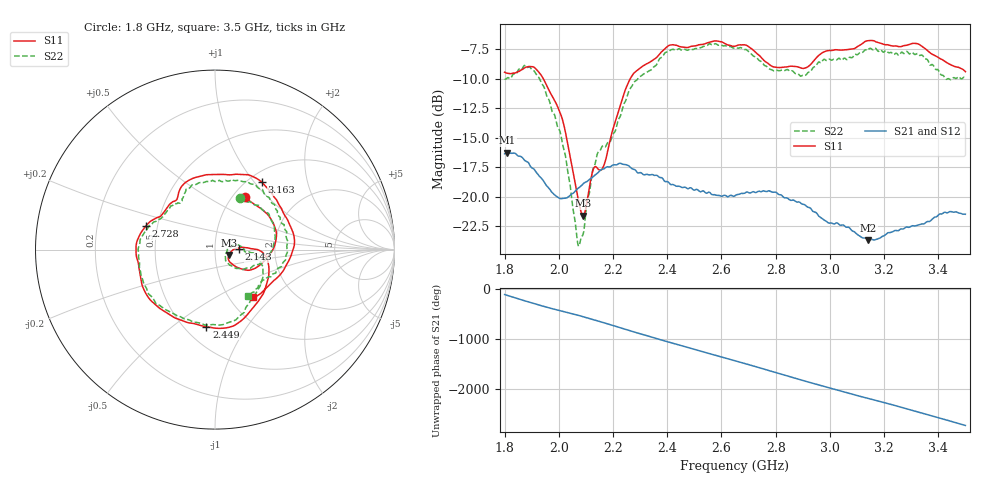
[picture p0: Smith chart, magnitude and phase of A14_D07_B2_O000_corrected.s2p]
! Created with skrf 1.9.0 (http://scikit-rf.org).
# Hz S RI R 50.0
!freq ReS11 ImS11 ReS21 ImS21 ReS12 ImS12 ReS22 ImS22
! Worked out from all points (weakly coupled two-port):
!   1601 points, 1.8 GHz to 3.5 GHz, reference 50 ohm
!   highest |S21| = -16.27 dB at 1.811 GHz (marker M1); lowest = -23.7 dB at 3.142 GHz (marker M2)
!   lowest |S11| = -21.6 dB at 2.09 GHz (marker M3), VSWR 1.18, Z = 58.3 - j3.55 ohm
!   |S11| at or under -10 dB: 1.943 GHz to 2.264 GHz (320.7 MHz wide, 15.2 % of centre)
!   |S22| runs from -24.2 to -7.0 dB; largest |S21 - S12| = 0.0029
!   S11 on the Smith chart (normalised r, x): 1.8 GHz: 1.13, +0.75; 2.143 GHz: 1.30, +0.01; 2.449 GHz: 0.63, -0.67; 2.728 GHz: 0.43, +0.13; 3.163 GHz: 1.15, +1.10; 3.5 GHz: 1.27, -0.77
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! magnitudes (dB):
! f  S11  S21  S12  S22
! 1.8 GHz  -9.4  -16.4  -16.4  -10.0
! 1.811 GHz  -9.5  -16.3  -16.3  -9.9
! 1.88 GHz  -9.0  -17.0  -17.0  -9.0
! 1.941 GHz  -9.9  -18.6  -18.6  -10.6
! 2.013 GHz  -13.4  -20.1  -20.1  -15.4
! 2.068 GHz  -19.8  -19.3  -19.3  -23.6
! 2.084 GHz  -21.4  -19.0  -19.0  -23.4
! 2.09 GHz  -21.6  -18.9  -18.9  -23.1
! 2.125 GHz  -17.8  -18.3  -18.3  -17.7
! 2.143 GHz  -17.6  -18.0  -18.0  -16.3
! 2.167 GHz  -17.3  -17.6  -17.6  -15.7
! 2.263 GHz  -10.0  -17.5  -17.5  -10.8
! 2.367 GHz  -8.0  -18.3  -18.2  -8.5
! 2.449 GHz  -7.3  -19.2  -19.2  -7.5
! 2.65 GHz  -7.2  -19.9  -19.9  -7.4
! 2.728 GHz  -7.8  -19.6  -19.6  -8.2
! 2.934 GHz  -8.7  -21.1  -21.1  -9.2
! 3.142 GHz  -6.8  -23.7  -23.6  -7.6
! 3.163 GHz  -6.8  -23.7  -23.6  -7.5
! 3.217 GHz  -7.2  -23.0  -23.0  -7.8
! 3.324 GHz  -7.0  -22.4  -22.4  -7.9
! 3.5 GHz  -9.4  -21.5  -21.5  -10.0
